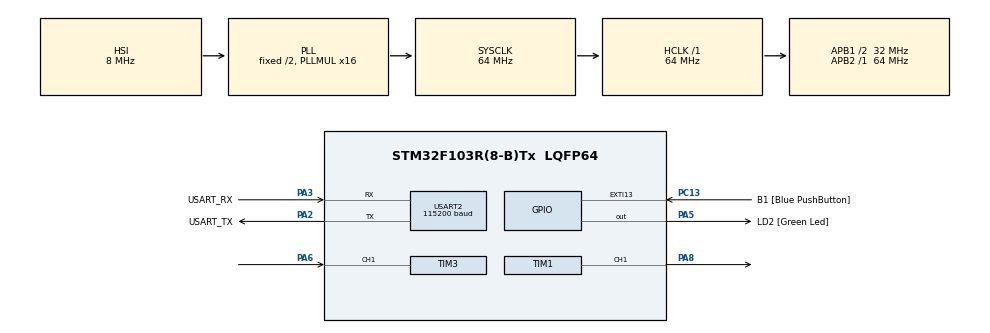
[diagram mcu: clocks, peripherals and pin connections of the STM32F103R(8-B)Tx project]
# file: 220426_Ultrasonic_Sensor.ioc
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Mcu.Family=STM32F1
Mcu.Name=STM32F103R(8-B)Tx
Mcu.Package=LQFP64
NVIC.EXTI15_10_IRQn=true\:0\:0\:false\:false\:true\:true\:true\:true
NVIC.PriorityGroup=NVIC_PRIORITYGROUP_4
NVIC.TIM1_CC_IRQn=true\:0\:0\:false\:false\:true\:true\:true\:true
NVIC.TIM1_TRG_COM_IRQn=true\:0\:0\:false\:false\:true\:true\:true\:true
NVIC.TIM3_IRQn=true\:0\:0\:false\:false\:true\:true\:true\:true
PA13.GPIO_Label=TMS
PA13.Mode=Serial_Wire
PA13.Signal=SYS_JTMS-SWDIO
PA14.GPIO_Label=TCK
PA14.Mode=Serial_Wire
PA14.Signal=SYS_JTCK-SWCLK
PA2.GPIO_Label=USART_TX
PA2.GPIO_Mode=GPIO_MODE_AF_PP
PA2.GPIO_PuPd=GPIO_NOPULL
PA2.GPIO_Speed=GPIO_SPEED_FREQ_LOW
PA2.Mode=Asynchronous
PA2.Signal=USART2_TX
PA3.GPIO_Label=USART_RX
PA3.GPIO_Mode=GPIO_MODE_AF_PP
PA3.GPIO_PuPd=GPIO_NOPULL
PA3.GPIO_Speed=GPIO_SPEED_FREQ_LOW
PA3.Mode=Asynchronous
PA3.Signal=USART2_RX
PA5.GPIO_Label=LD2 [Green Led]
PA5.GPIO_ModeDefaultOutputPP=GPIO_MODE_OUTPUT_PP
PA5.GPIO_PuPd=GPIO_NOPULL
PA5.GPIO_Speed=GPIO_SPEED_FREQ_LOW
PA5.Signal=GPIO_Output
PA6.Signal=S_TIM3_CH1
PA8.Signal=S_TIM1_CH1
PB3.GPIO_Label=SWO
PB3.Signal=SYS_JTDO-TRACESWO
PC13-TAMPER-RTC.GPIO_Label=B1 [Blue PushButton]
PC13-TAMPER-RTC.GPIO_PuPd=GPIO_NOPULL
PC13-TAMPER-RTC.Signal=GPXTI13
PC14-OSC32_IN.Mode=LSE-External-Oscillator
PC14-OSC32_IN.Signal=RCC_OSC32_IN
PC15-OSC32_OUT.Mode=LSE-External-Oscillator
PC15-OSC32_OUT.Signal=RCC_OSC32_OUT
PD0-OSC_IN.Mode=HSE-External-Clock-Source
PD0-OSC_IN.Signal=RCC_OSC_IN
PD1-OSC_OUT.Mode=HSE-External-Clock-Source
PD1-OSC_OUT.Signal=RCC_OSC_OUT
ProjectManager.HeapSize=0x200
ProjectManager.StackSize=0x400
ProjectManager.TargetToolchain=STM32CubeIDE
RCC.AHBFreq_Value=64000000
RCC.APB1CLKDivider=RCC_HCLK_DIV2
RCC.APB1Freq_Value=32000000
RCC.APB1TimFreq_Value=64000000
RCC.APB2Freq_Value=64000000
RCC.APB2TimFreq_Value=64000000
RCC.HCLKFreq_Value=64000000
RCC.PLLMUL=RCC_PLL_MUL16
RCC.RTCClockSelection=RCC_RTCCLKSOURCE_LSE
RCC.SYSCLKFreq_VALUE=64000000
RCC.SYSCLKSource=RCC_SYSCLKSOURCE_PLLCLK
RCC.USBFreq_Value=64000000
SH.S_TIM1_CH1.0=TIM1_CH1,PWM Generation1 CH1
SH.S_TIM3_CH1.0=TIM3_CH1,Input_Capture1_from_TI1
TIM1.Channel-PWM\ Generation1\ CH1=TIM_CHANNEL_1
TIM1.Period=1000-1
TIM1.Prescaler=64-1
TIM1.Pulse-PWM\ Generation1\ CH1=500-1
TIM3.Channel-Input_Capture1_from_TI1=TIM_CHANNEL_1
TIM3.Prescaler=64-1
USART2.BaudRate=115200
USART2.VirtualMode=VM_ASYNC
VP_TIM1_VS_ClockSourceINT.Mode=Internal
VP_TIM3_VS_ClockSourceINT.Mode=Internal
board=NUCLEO-F103RB

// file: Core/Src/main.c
/* USER CODE BEGIN Header */
/**
 ******************************************************************************
 * @file           : main.c
 * @brief          : Main program body
 ******************************************************************************
 * @attention
 *
 * Copyright (c) 2022 STMicroelectronics.
 * All rights reserved.
 *
 * This software is licensed under terms that can be found in the LICENSE file
 * in the root directory of this software component.
 * If no LICENSE file comes with this software, it is provided AS-IS.
 *
 ******************************************************************************
 */
/* USER CODE END Header */
#include "main.h"

/* USER CODE BEGIN PD */
#define clk 64000000
#define psr 64
/* USER CODE END PD */

 TIM_HandleTypeDef htim1;
TIM_HandleTypeDef htim3;

UART_HandleTypeDef huart2;

/* USER CODE BEGIN PV */
uint32_t IC1, IC2;
int captureFlag;
float freq;
/* USER CODE END PV */

void SystemClock_Config(void);
static void MX_GPIO_Init(void);
static void MX_USART2_UART_Init(void);
static void MX_TIM1_Init(void);
static void MX_TIM3_Init(void);
/* USER CODE BEGIN PFP */
#ifdef __GNUC__
/* With GCC, small printf (option LD Linker->Libraries->Small printf
 set to 'Yes') calls __io_putchar() */
#define PUTCHAR_PROTOTYPE int __io_putchar(int ch)
#else
#define PUTCHAR_PROTOTYPE int fputc(int ch, FILE *f)
#endif /* __GNUC__ */
PUTCHAR_PROTOTYPE {
	/* Place your implementation of fputc here */
	/* e.g. write a character to the USART1 and Loop until the end of transmission */
	HAL_UART_Transmit(&huart2, (uint8_t*) &ch, 1, 0xFFFF);

	return ch;
}
/* USER CODE END PFP */

int main(void)
{

  /* MCU Configuration--------------------------------------------------------*/

  /* Reset of all peripherals, Initializes the Flash interface and the Systick. */
  HAL_Init();

  /* Configure the system clock */
  SystemClock_Config();

  /* Initialize all configured peripherals */
  MX_GPIO_Init();
  MX_USART2_UART_Init();
  MX_TIM1_Init();
  MX_TIM3_Init();
  /* USER CODE BEGIN 2 */
	HAL_TIM_PWM_Start(&htim1, TIM_CHANNEL_1);
	HAL_TIM_IC_Start_IT(&htim3, TIM_CHANNEL_1);
  /* USER CODE END 2 */

  /* Infinite loop */
  /* USER CODE BEGIN WHILE */
	while (1) {
		//printf("%f\n\r", freq);
    /* USER CODE END WHILE */

	}
}

void SystemClock_Config(void)
{
  RCC_OscInitTypeDef RCC_OscInitStruct = {0};
  RCC_ClkInitTypeDef RCC_ClkInitStruct = {0};

  /** Initializes the RCC Oscillators according to the specified parameters
  * in the RCC_OscInitTypeDef structure.
  */
  RCC_OscInitStruct.OscillatorType = RCC_OSCILLATORTYPE_HSI;
  RCC_OscInitStruct.HSIState = RCC_HSI_ON;
  RCC_OscInitStruct.HSICalibrationValue = RCC_HSICALIBRATION_DEFAULT;
  RCC_OscInitStruct.PLL.PLLState = RCC_PLL_ON;
  RCC_OscInitStruct.PLL.PLLSource = RCC_PLLSOURCE_HSI_DIV2;
  RCC_OscInitStruct.PLL.PLLMUL = RCC_PLL_MUL16;
  if (HAL_RCC_OscConfig(&RCC_OscInitStruct) != HAL_OK)
  {
    Error_Handler();
  }

  /** Initializes the CPU, AHB and APB buses clocks
  */
  RCC_ClkInitStruct.ClockType = RCC_CLOCKTYPE_HCLK|RCC_CLOCKTYPE_SYSCLK
                              |RCC_CLOCKTYPE_PCLK1|RCC_CLOCKTYPE_PCLK2;
  RCC_ClkInitStruct.SYSCLKSource = RCC_SYSCLKSOURCE_PLLCLK;
  RCC_ClkInitStruct.AHBCLKDivider = RCC_SYSCLK_DIV1;
  RCC_ClkInitStruct.APB1CLKDivider = RCC_HCLK_DIV2;
  RCC_ClkInitStruct.APB2CLKDivider = RCC_HCLK_DIV1;

  if (HAL_RCC_ClockConfig(&RCC_ClkInitStruct, FLASH_LATENCY_2) != HAL_OK)
  {
    Error_Handler();
  }
}

static void MX_TIM1_Init(void)
{

  TIM_ClockConfigTypeDef sClockSourceConfig = {0};
  TIM_MasterConfigTypeDef sMasterConfig = {0};
  TIM_OC_InitTypeDef sConfigOC = {0};
  TIM_BreakDeadTimeConfigTypeDef sBreakDeadTimeConfig = {0};

  htim1.Instance = TIM1;
  htim1.Init.Prescaler = 64-1;
  htim1.Init.CounterMode = TIM_COUNTERMODE_UP;
  htim1.Init.Period = 1000-1;
  htim1.Init.ClockDivision = TIM_CLOCKDIVISION_DIV1;
  htim1.Init.RepetitionCounter = 0;
  htim1.Init.AutoReloadPreload = TIM_AUTORELOAD_PRELOAD_DISABLE;
  if (HAL_TIM_Base_Init(&htim1) != HAL_OK)
  {
    Error_Handler();
  }
  sClockSourceConfig.ClockSource = TIM_CLOCKSOURCE_INTERNAL;
  if (HAL_TIM_ConfigClockSource(&htim1, &sClockSourceConfig) != HAL_OK)
  {
    Error_Handler();
  }
  if (HAL_TIM_PWM_Init(&htim1) != HAL_OK)
  {
    Error_Handler();
  }
  sMasterConfig.MasterOutputTrigger = TIM_TRGO_RESET;
  sMasterConfig.MasterSlaveMode = TIM_MASTERSLAVEMODE_DISABLE;
  if (HAL_TIMEx_MasterConfigSynchronization(&htim1, &sMasterConfig) != HAL_OK)
  {
    Error_Handler();
  }
  sConfigOC.OCMode = TIM_OCMODE_PWM1;
  sConfigOC.Pulse = 500-1;
  sConfigOC.OCPolarity = TIM_OCPOLARITY_HIGH;
  sConfigOC.OCNPolarity = TIM_OCNPOLARITY_HIGH;
  sConfigOC.OCFastMode = TIM_OCFAST_DISABLE;
  sConfigOC.OCIdleState = TIM_OCIDLESTATE_RESET;
  sConfigOC.OCNIdleState = TIM_OCNIDLESTATE_RESET;
  if (HAL_TIM_PWM_ConfigChannel(&htim1, &sConfigOC, TIM_CHANNEL_1) != HAL_OK)
  {
    Error_Handler();
  }
  sBreakDeadTimeConfig.OffStateRunMode = TIM_OSSR_DISABLE;
  sBreakDeadTimeConfig.OffStateIDLEMode = TIM_OSSI_DISABLE;
  sBreakDeadTimeConfig.LockLevel = TIM_LOCKLEVEL_OFF;
  sBreakDeadTimeConfig.DeadTime = 0;
  sBreakDeadTimeConfig.BreakState = TIM_BREAK_DISABLE;
  sBreakDeadTimeConfig.BreakPolarity = TIM_BREAKPOLARITY_HIGH;
  sBreakDeadTimeConfig.AutomaticOutput = TIM_AUTOMATICOUTPUT_DISABLE;
  if (HAL_TIMEx_ConfigBreakDeadTime(&htim1, &sBreakDeadTimeConfig) != HAL_OK)
  {
    Error_Handler();
  }
  HAL_TIM_MspPostInit(&htim1);

}

static void MX_TIM3_Init(void)
{

  TIM_ClockConfigTypeDef sClockSourceConfig = {0};
  TIM_MasterConfigTypeDef sMasterConfig = {0};
  TIM_IC_InitTypeDef sConfigIC = {0};

  htim3.Instance = TIM3;
  htim3.Init.Prescaler = 64-1;
  htim3.Init.CounterMode = TIM_COUNTERMODE_UP;
  htim3.Init.Period = 65535;
  htim3.Init.ClockDivision = TIM_CLOCKDIVISION_DIV1;
  htim3.Init.AutoReloadPreload = TIM_AUTORELOAD_PRELOAD_DISABLE;
  if (HAL_TIM_Base_Init(&htim3) != HAL_OK)
  {
    Error_Handler();
  }
  sClockSourceConfig.ClockSource = TIM_CLOCKSOURCE_INTERNAL;
  if (HAL_TIM_ConfigClockSource(&htim3, &sClockSourceConfig) != HAL_OK)
  {
    Error_Handler();
  }
  if (HAL_TIM_IC_Init(&htim3) != HAL_OK)
  {
    Error_Handler();
  }
  sMasterConfig.MasterOutputTrigger = TIM_TRGO_RESET;
  sMasterConfig.MasterSlaveMode = TIM_MASTERSLAVEMODE_DISABLE;
  if (HAL_TIMEx_MasterConfigSynchronization(&htim3, &sMasterConfig) != HAL_OK)
  {
    Error_Handler();
  }
  sConfigIC.ICPolarity = TIM_INPUTCHANNELPOLARITY_RISING;
  sConfigIC.ICSelection = TIM_ICSELECTION_DIRECTTI;
  sConfigIC.ICPrescaler = TIM_ICPSC_DIV1;
  sConfigIC.ICFilter = 0;
  if (HAL_TIM_IC_ConfigChannel(&htim3, &sConfigIC, TIM_CHANNEL_1) != HAL_OK)
  {
    Error_Handler();
  }

}

static void MX_USART2_UART_Init(void)
{

  huart2.Instance = USART2;
  huart2.Init.BaudRate = 115200;
  huart2.Init.WordLength = UART_WORDLENGTH_8B;
  huart2.Init.StopBits = UART_STOPBITS_1;
  huart2.Init.Parity = UART_PARITY_NONE;
  huart2.Init.Mode = UART_MODE_TX_RX;
  huart2.Init.HwFlowCtl = UART_HWCONTROL_NONE;
  huart2.Init.OverSampling = UART_OVERSAMPLING_16;
  if (HAL_UART_Init(&huart2) != HAL_OK)
  {
    Error_Handler();
  }

}

static void MX_GPIO_Init(void)
{
  GPIO_InitTypeDef GPIO_InitStruct = {0};

  /* GPIO Ports Clock Enable */
  __HAL_RCC_GPIOC_CLK_ENABLE();
  __HAL_RCC_GPIOD_CLK_ENABLE();
  __HAL_RCC_GPIOA_CLK_ENABLE();
  __HAL_RCC_GPIOB_CLK_ENABLE();

  /*Configure GPIO pin Output Level */
  HAL_GPIO_WritePin(LD2_GPIO_Port, LD2_Pin, GPIO_PIN_RESET);

  /*Configure GPIO pin : B1_Pin */
  GPIO_InitStruct.Pin = B1_Pin;
  GPIO_InitStruct.Mode = GPIO_MODE_IT_RISING;
  GPIO_InitStruct.Pull = GPIO_NOPULL;
  HAL_GPIO_Init(B1_GPIO_Port, &GPIO_InitStruct);

  /*Configure GPIO pin : LD2_Pin */
  GPIO_InitStruct.Pin = LD2_Pin;
  GPIO_InitStruct.Mode = GPIO_MODE_OUTPUT_PP;
  GPIO_InitStruct.Pull = GPIO_NOPULL;
  GPIO_InitStruct.Speed = GPIO_SPEED_FREQ_LOW;
  HAL_GPIO_Init(LD2_GPIO_Port, &GPIO_InitStruct);

  /* EXTI interrupt init*/
  HAL_NVIC_SetPriority(EXTI15_10_IRQn, 0, 0);
  HAL_NVIC_EnableIRQ(EXTI15_10_IRQn);

}

/* USER CODE BEGIN 4 */

void HAL_TIM_IC_CaptureCallback(TIM_HandleTypeDef *htim) {
	if (htim->Channel == HAL_TIM_ACTIVE_CHANNEL_1) { //if channel is '1'
		if (captureFlag == 0) {
			IC1 = HAL_TIM_ReadCapturedValue(&htim3, TIM_CHANNEL_1);
			//IC1 = TIM2->CCR1;
			captureFlag = 1;
			printf("cap!\n\r");
		} else if (captureFlag == 1) {
			IC2 = HAL_TIM_ReadCapturedValue(&htim3, TIM_CHANNEL_1);
			//IC2 = TIM2->CCR1;
			captureFlag = 0;
			freq = 1 / ((IC2 - IC1) * 0.000001); //IC1, IC2 parameters are frequency?
			//freq = 1 / ((IC2 - IC1) * psr/clk);
			__HAL_TIM_SET_COUNTER(&htim3, 0); // set counter(=CNT) 0
			printf("ic1 : %u, ic2 : %u\n\r", IC1, IC2);
			printf("freq : %f\n\r", freq);
		}
	}
}
/* USER CODE END 4 */

void Error_Handler(void)
{
	__disable_irq();
	while (1) {
	}
}
